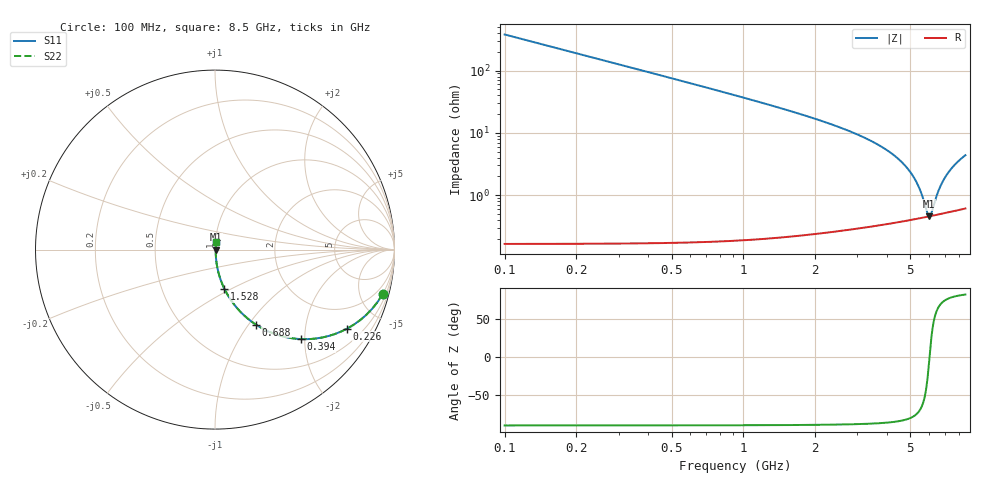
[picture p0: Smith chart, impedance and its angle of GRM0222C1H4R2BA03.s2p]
!Murata Part Number: GRM0222C1H4R2BA03
!These Parameters are Measured in Series Mode Connection
!Data Generated on Mar 30, 2021
!  o--ll--o
!Port1  Port2
!  o------o
!Operation Temp=25[degC], DC Bias Voltage=0[V]
!Freq. Start=100[MHz] Stop=9[GHz] 401[Steps]
# Hz S RI R 50
!Freq.(Hz) S11(Real) S11(Imag) S21(Real) S21(Imag) S12(Real) S12(Imag) S22(Real) S22(Imag)
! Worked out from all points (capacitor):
!   401 points, 100 MHz to 8.5 GHz, reference 50 ohm
!   read as one part in series: C = 4.2 pF near 142 MHz
!   lowest |Z| = 459 mohm at 6.001 GHz (marker M1)
!   series resonance near 6.015 GHz, so ESL is about 170 pH
!   S11 on the Smith chart (normalised r, x): 100 MHz: 1.00, -7.58; 226 MHz: 1.00, -3.35; 394 MHz: 1.00, -1.91; 688 MHz: 1.00, -1.09; 1.528 GHz: 1.00, -0.46; 8.5 GHz: 1.01, +0.09
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1e8  0.9348 -0.2467  0.0652 0.2467  0.0652 0.2467  0.9348 -0.2467
2.26e8  0.7368 -0.4398  0.2632 0.4398  0.2632 0.4398  0.7368 -0.4398
3.94e8  0.4783 -0.4986  0.5217 0.4986  0.5217 0.4986  0.4783 -0.4986
5.41e8  0.3258 -0.4674  0.6742 0.4674  0.6742 0.4674  0.3258 -0.4674
6.88e8  0.2286 -0.4183  0.7714 0.4183  0.7714 0.4183  0.2286 -0.4183
1.024e9  0.1154 -0.3168  0.8846 0.3168  0.8846 0.3168  0.1154 -0.3168
1.507e9  0.0542 -0.2219  0.9458 0.2219  0.9458 0.2219  0.0542 -0.2219
1.528e9  0.0526 -0.2187  0.9474 0.2187  0.9474 0.2187  0.0526 -0.2187
2.914e9  0.0125 -0.0974  0.9875 0.0974  0.9875 0.0974  0.0125 -0.0974
4.3e9  0.00538 -0.0422  0.9946 0.0422  0.9946 0.0422  0.00538 -0.0422
4.762e9  0.00469 -0.0291  0.9953 0.0291  0.9953 0.0291  0.00469 -0.0291
5.14e9  0.00444 -0.0195  0.9956 0.0195  0.9956 0.0195  0.00444 -0.0195
5.455e9  0.00438 -0.012  0.9956 0.012  0.9956 0.012  0.00438 -0.012
5.707e9  0.00443 -0.00646  0.9956 0.00646  0.9956 0.00646  0.00443 -0.00646
5.896e9  0.0045 -0.00245  0.9955 0.00245  0.9955 0.00245  0.0045 -0.00245
6.001e9  0.00456 -0.00028  0.9954 0.00028  0.9954 0.00028  0.00456 -0.00028
6.106e9  0.00462 0.00185  0.9954 -0.00185  0.9954 -0.00185  0.00462 0.00185
6.4e9  0.00485 0.00762  0.9951 -0.00762  0.9951 -0.00762  0.00485 0.00762
6.61e9  0.00505 0.0116  0.9949 -0.0116  0.9949 -0.0116  0.00505 0.0116
7.114e9  0.00565 0.0206  0.9943 -0.0206  0.9943 -0.0206  0.00565 0.0206
7.723e9  0.00655 0.0308  0.9934 -0.0308  0.9934 -0.0308  0.00655 0.0308
8.5e9  0.00792 0.0428  0.9921 -0.0428  0.9921 -0.0428  0.00792 0.0428
